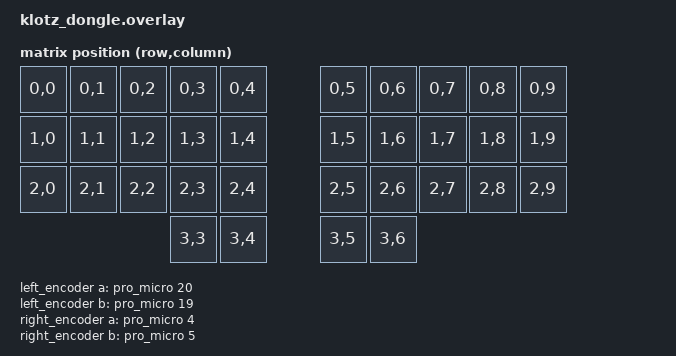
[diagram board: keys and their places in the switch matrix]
/*
 * Copyright (c) 2022 The ZMK Contributors
 *
 * SPDX-License-Identifier: MIT
 */

 #include <dt-bindings/zmk/matrix_transform.h>

/ {
    chosen {
        zmk,kscan = &mock_kscan;
        wakeup-source;
	zmk,physical-layout = &physical_layout_0;
    };

    mock_kscan: kscan_1 {
        compatible = "zmk,kscan-mock";
        columns = <0>;
        rows = <0>;
        events = <0>;
    };
	default_transform: keymap_transform {
	compatible = "zmk,matrix-transform";
	columns = <10>;
  	rows = <4>;
  	map = <
	RC(0,0) RC(0,1) RC(0,2) RC(0,3) RC(0,4)    RC(0,5) RC(0,6) RC(0,7) RC(0,8) RC(0,9)
  	RC(1,0) RC(1,1) RC(1,2) RC(1,3) RC(1,4)    RC(1,5) RC(1,6) RC(1,7) RC(1,8) RC(1,9)
  	RC(2,0) RC(2,1) RC(2,2) RC(2,3) RC(2,4)    RC(2,5) RC(2,6) RC(2,7) RC(2,8) RC(2,9)
	                        RC(3,3) RC(3,4)    RC(3,5) RC(3,6)
		  >;
	};
	
	physical_layout_0: physical_layout_0 {
        compatible = "zmk,physical-layout";
        display-name = "Klotz Dongle Layout"; 
	transform = <&default_transform>;        
    };

	left_encoder: encoder_left {
        compatible = "alps,ec11";
        label = "LEFT_ENCODER";
        // 이 핀들은 동글 MCU에 왼쪽 엔코더가 실제로 연결된 핀이어야 합니다.
        // 예를 들어, 클론 Pro Micro 보드의 D20/D19 핀이 아닐 수 있습니다.
        a-gpios = <&pro_micro 20 (GPIO_ACTIVE_HIGH | GPIO_PULL_UP)>; // 실제 핀으로 변경
        b-gpios = <&pro_micro 19 (GPIO_ACTIVE_HIGH | GPIO_PULL_UP)>; // 실제 핀으로 변경
        steps = <96>;
        status = "okay";
    };

    right_encoder: encoder_right {
        compatible = "alps,ec11";
        label = "RIGHT_ENCODER";
        // 이 핀들은 동글 MCU에 오른쪽 엔코더가 실제로 연결된 핀이어야 합니다.
        // 왼쪽 엔코더 핀과 중복되어서는 안 됩니다.
        a-gpios = <&pro_micro 4 (GPIO_ACTIVE_HIGH | GPIO_PULL_UP)>; // 실제 핀으로 변경 (예시)
        b-gpios = <&pro_micro 5 (GPIO_ACTIVE_HIGH | GPIO_PULL_UP)>; // 실제 핀으로 변경 (예시)
        steps = <96>;
        status = "okay";
    };

    sensors {
        compatible = "zmk,keymap-sensors";
        sensors = <&left_encoder &right_encoder>;
        triggers-per-rotation = <24>;
    };
};
